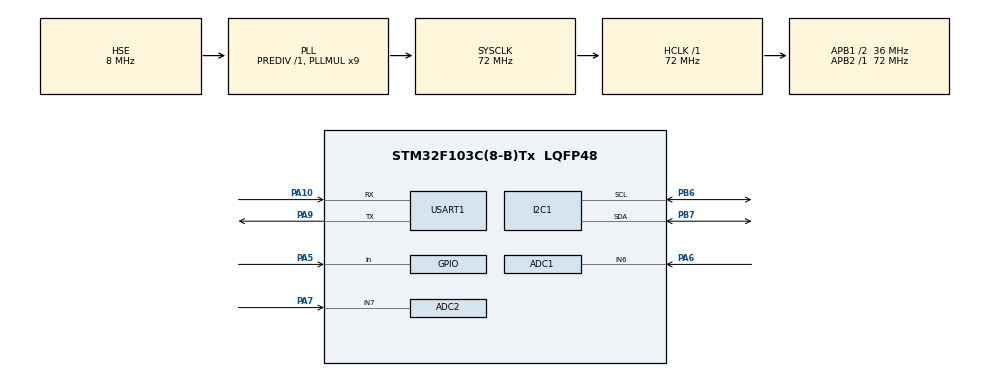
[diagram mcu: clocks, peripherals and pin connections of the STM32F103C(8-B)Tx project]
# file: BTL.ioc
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ADC1.Channel-0\#ChannelRegularConversion=ADC_CHANNEL_6
ADC1.NbrOfConversionFlag=1
ADC1.Rank-0\#ChannelRegularConversion=1
ADC1.SamplingTime-0\#ChannelRegularConversion=ADC_SAMPLETIME_1CYCLE_5
ADC1.master=1
ADC2.Channel-0\#ChannelRegularConversion=ADC_CHANNEL_7
ADC2.NbrOfConversionFlag=1
ADC2.Rank-0\#ChannelRegularConversion=1
ADC2.SamplingTime-0\#ChannelRegularConversion=ADC_SAMPLETIME_1CYCLE_5
FREERTOS.Tasks01=task_1,0,128,task_1_function,Default,NULL,Dynamic,NULL,NULL;task_2,0,128,task_2_function,Default,NULL,Dynamic,NULL,NULL;task_3,-1,128,task_3_function,Default,NULL,Dynamic,NULL,NULL
FREERTOS.configUSE_NEWLIB_REENTRANT=1
Mcu.Family=STM32F1
Mcu.Name=STM32F103C(8-B)Tx
Mcu.Package=LQFP48
NVIC.PriorityGroup=NVIC_PRIORITYGROUP_4
NVIC.TIM1_UP_IRQn=true\:15\:0\:false\:false\:true\:false\:false\:true\:true
NVIC.TimeBase=TIM1_UP_IRQn
NVIC.TimeBaseIP=TIM1
PA10.Mode=Asynchronous
PA10.Signal=USART1_RX
PA13.Mode=Serial_Wire
PA13.Signal=SYS_JTMS-SWDIO
PA14.Mode=Serial_Wire
PA14.Signal=SYS_JTCK-SWCLK
PA5.GPIO_PuPd=GPIO_PULLUP
PA5.Signal=GPIO_Input
PA6.Signal=ADCx_IN6
PA7.Signal=ADCx_IN7
PA9.Mode=Asynchronous
PA9.Signal=USART1_TX
PB6.Mode=I2C
PB6.Signal=I2C1_SCL
PB7.Mode=I2C
PB7.Signal=I2C1_SDA
PD0-OSC_IN.Mode=HSE-External-Oscillator
PD0-OSC_IN.Signal=RCC_OSC_IN
PD1-OSC_OUT.Mode=HSE-External-Oscillator
PD1-OSC_OUT.Signal=RCC_OSC_OUT
ProjectManager.HeapSize=0x200
ProjectManager.StackSize=0x400
ProjectManager.TargetToolchain=STM32CubeIDE
RCC.ADCPresc=RCC_ADCPCLK2_DIV6
RCC.AHBFreq_Value=72000000
RCC.APB1CLKDivider=RCC_HCLK_DIV2
RCC.APB1Freq_Value=36000000
RCC.APB1TimFreq_Value=72000000
RCC.APB2Freq_Value=72000000
RCC.APB2TimFreq_Value=72000000
RCC.HCLKFreq_Value=72000000
RCC.PLLMUL=RCC_PLL_MUL9
RCC.PLLSourceVirtual=RCC_PLLSOURCE_HSE
RCC.SYSCLKFreq_VALUE=72000000
RCC.SYSCLKSource=RCC_SYSCLKSOURCE_PLLCLK
RCC.USBFreq_Value=72000000
SH.ADCx_IN6.0=ADC1_IN6,IN6
SH.ADCx_IN7.0=ADC2_IN7,IN7
USART1.VirtualMode=VM_ASYNC
VP_FREERTOS_VS_CMSIS_V1.Mode=CMSIS_V1
VP_SYS_VS_tim1.Mode=TIM1
board=custom

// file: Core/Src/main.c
/* USER CODE BEGIN Header */
/**
  ******************************************************************************
  * @file           : main.c
  * @brief          : Main program body
  ******************************************************************************
  * @attention
  *
  * Copyright (c) 2024 STMicroelectronics.
  * All rights reserved.
  *
  * This software is licensed under terms that can be found in the LICENSE file
  * in the root directory of this software component.
  * If no LICENSE file comes with this software, it is provided AS-IS.
  *
  ******************************************************************************
  */
/* USER CODE END Header */
#include "main.h"
#include "cmsis_os.h"

/* USER CODE BEGIN PTD */
typedef struct
{
    int column;
    int row;
} move_typedef;

typedef enum
{
	MENU_CHOOSE_MODE,
	MENU_CHOOSE_DIFF,
	PLAYER_AI,
	PLAYER_PLAYER,
	GAME_OVER
} state_typedef;

typedef enum
{
	PLAYER_1,
	PLAYER_2
} player_turn_typedef;

typedef enum
{
	RELEASED,
	PRESSED
} button_state_typedef;

typedef enum
{
	ZERO,
	POS,
	NEG
} adc_state_typedef;

typedef enum
{
	EASY,
	HARD
} ai_mode_typedef;

typedef enum
{
	PLAYER_1_WON,
	PLAYER_2_WON,
	AI_WON,
	DRAW
} winner_typedef;

typedef enum
{
	POS_1,
	POS_2
} lcd_cursor_typedef;
/* USER CODE END PTD */

/* USER CODE BEGIN PD */
#define LCD_ADDRESS 0x27<<1
#define LCD_RS 0
#define LCD_RW 1
#define LCD_EN 2

#define cursor_symbol 'z'
#define player 'x'
#define computer 'o'
#define computer_turn 1
#define player_turn 0
/* USER CODE END PD */

ADC_HandleTypeDef hadc1;
ADC_HandleTypeDef hadc2;

I2C_HandleTypeDef hi2c1;

UART_HandleTypeDef huart1;

osThreadId task_1Handle;
osThreadId task_2Handle;
osThreadId task_3Handle;
/* USER CODE BEGIN PV */
volatile char board[3][3];

volatile move_typedef best_move = {
		.row = -1,
		.column = -1
};
volatile move_typedef cursor = {
		.row = 0,
		.column = 0
};

volatile lcd_cursor_typedef lcd_cursor = POS_1;
volatile state_typedef cur_state = MENU_CHOOSE_MODE;
volatile player_turn_typedef turn = PLAYER_1;
volatile ai_mode_typedef ai_mode = EASY;
volatile winner_typedef winner = PLAYER_1_WON;
volatile uint8_t rand = 0;
/* USER CODE END PV */

void SystemClock_Config(void);
static void MX_GPIO_Init(void);
static void MX_I2C1_Init(void);
static void MX_USART1_UART_Init(void);
static void MX_ADC1_Init(void);
static void MX_ADC2_Init(void);
void task_1_function(void const * argument);
void task_2_function(void const * argument);
void task_3_function(void const * argument);

/* USER CODE BEGIN PFP */
void lcd_command(uint8_t cmd);
void lcd_data(uint8_t data);
void lcd_init(void);
void lcd_clear(void);
void lcd_string(char str[]);

uint8_t check_moves_left(char board[][3]);
int evaluate(char board[][3]);
int minimax(char board[][3], uint8_t turn);
void find_best_move(char board[][3]);
int max(int a, int b);
int min(int a, int b);
void board_clear(char board[][3]);
void board_copy(char board[][3], char copy[]);
void board_to_pc(char board[][3], move_typedef *cursor);
void board_easy_mode(char board[][3], uint8_t rand);
/* USER CODE END PFP */

int main(void)
{

  /* MCU Configuration--------------------------------------------------------*/

  /* Reset of all peripherals, Initializes the Flash interface and the Systick. */
  HAL_Init();

  /* Configure the system clock */
  SystemClock_Config();

  /* Initialize all configured peripherals */
  MX_GPIO_Init();
  MX_I2C1_Init();
  MX_USART1_UART_Init();
  MX_ADC1_Init();
  MX_ADC2_Init();

  /* Create the thread(s) */
  /* definition and creation of task_1 */
  osThreadDef(task_1, task_1_function, osPriorityNormal, 0, 128);
  task_1Handle = osThreadCreate(osThread(task_1), NULL);

  /* definition and creation of task_2 */
  osThreadDef(task_2, task_2_function, osPriorityNormal, 0, 128);
  task_2Handle = osThreadCreate(osThread(task_2), NULL);

  /* definition and creation of task_3 */
  osThreadDef(task_3, task_3_function, osPriorityBelowNormal, 0, 128);
  task_3Handle = osThreadCreate(osThread(task_3), NULL);

  /* Start scheduler */
  osKernelStart();

  /* We should never get here as control is now taken by the scheduler */

  /* Infinite loop */
  while (1)
  {

  }
}

void SystemClock_Config(void)
{
  RCC_OscInitTypeDef RCC_OscInitStruct = {0};
  RCC_ClkInitTypeDef RCC_ClkInitStruct = {0};
  RCC_PeriphCLKInitTypeDef PeriphClkInit = {0};

  /** Initializes the RCC Oscillators according to the specified parameters
  * in the RCC_OscInitTypeDef structure.
  */
  RCC_OscInitStruct.OscillatorType = RCC_OSCILLATORTYPE_HSE;
  RCC_OscInitStruct.HSEState = RCC_HSE_ON;
  RCC_OscInitStruct.HSEPredivValue = RCC_HSE_PREDIV_DIV1;
  RCC_OscInitStruct.HSIState = RCC_HSI_ON;
  RCC_OscInitStruct.PLL.PLLState = RCC_PLL_ON;
  RCC_OscInitStruct.PLL.PLLSource = RCC_PLLSOURCE_HSE;
  RCC_OscInitStruct.PLL.PLLMUL = RCC_PLL_MUL9;
  if (HAL_RCC_OscConfig(&RCC_OscInitStruct) != HAL_OK)
  {
    Error_Handler();
  }

  /** Initializes the CPU, AHB and APB buses clocks
  */
  RCC_ClkInitStruct.ClockType = RCC_CLOCKTYPE_HCLK|RCC_CLOCKTYPE_SYSCLK
                              |RCC_CLOCKTYPE_PCLK1|RCC_CLOCKTYPE_PCLK2;
  RCC_ClkInitStruct.SYSCLKSource = RCC_SYSCLKSOURCE_PLLCLK;
  RCC_ClkInitStruct.AHBCLKDivider = RCC_SYSCLK_DIV1;
  RCC_ClkInitStruct.APB1CLKDivider = RCC_HCLK_DIV2;
  RCC_ClkInitStruct.APB2CLKDivider = RCC_HCLK_DIV1;

  if (HAL_RCC_ClockConfig(&RCC_ClkInitStruct, FLASH_LATENCY_2) != HAL_OK)
  {
    Error_Handler();
  }
  PeriphClkInit.PeriphClockSelection = RCC_PERIPHCLK_ADC;
  PeriphClkInit.AdcClockSelection = RCC_ADCPCLK2_DIV6;
  if (HAL_RCCEx_PeriphCLKConfig(&PeriphClkInit) != HAL_OK)
  {
    Error_Handler();
  }
}

static void MX_ADC1_Init(void)
{

  ADC_ChannelConfTypeDef sConfig = {0};

  /** Common config
  */
  hadc1.Instance = ADC1;
  hadc1.Init.ScanConvMode = ADC_SCAN_DISABLE;
  hadc1.Init.ContinuousConvMode = DISABLE;
  hadc1.Init.DiscontinuousConvMode = DISABLE;
  hadc1.Init.ExternalTrigConv = ADC_SOFTWARE_START;
  hadc1.Init.DataAlign = ADC_DATAALIGN_RIGHT;
  hadc1.Init.NbrOfConversion = 1;
  if (HAL_ADC_Init(&hadc1) != HAL_OK)
  {
    Error_Handler();
  }

  /** Configure Regular Channel
  */
  sConfig.Channel = ADC_CHANNEL_6;
  sConfig.Rank = ADC_REGULAR_RANK_1;
  sConfig.SamplingTime = ADC_SAMPLETIME_1CYCLE_5;
  if (HAL_ADC_ConfigChannel(&hadc1, &sConfig) != HAL_OK)
  {
    Error_Handler();
  }

}

static void MX_ADC2_Init(void)
{

  ADC_ChannelConfTypeDef sConfig = {0};

  /** Common config
  */
  hadc2.Instance = ADC2;
  hadc2.Init.ScanConvMode = ADC_SCAN_DISABLE;
  hadc2.Init.ContinuousConvMode = DISABLE;
  hadc2.Init.DiscontinuousConvMode = DISABLE;
  hadc2.Init.ExternalTrigConv = ADC_SOFTWARE_START;
  hadc2.Init.DataAlign = ADC_DATAALIGN_RIGHT;
  hadc2.Init.NbrOfConversion = 1;
  if (HAL_ADC_Init(&hadc2) != HAL_OK)
  {
    Error_Handler();
  }

  /** Configure Regular Channel
  */
  sConfig.Channel = ADC_CHANNEL_7;
  sConfig.Rank = ADC_REGULAR_RANK_1;
  sConfig.SamplingTime = ADC_SAMPLETIME_1CYCLE_5;
  if (HAL_ADC_ConfigChannel(&hadc2, &sConfig) != HAL_OK)
  {
    Error_Handler();
  }

}

static void MX_I2C1_Init(void)
{

  hi2c1.Instance = I2C1;
  hi2c1.Init.ClockSpeed = 100000;
  hi2c1.Init.DutyCycle = I2C_DUTYCYCLE_2;
  hi2c1.Init.OwnAddress1 = 0;
  hi2c1.Init.AddressingMode = I2C_ADDRESSINGMODE_7BIT;
  hi2c1.Init.DualAddressMode = I2C_DUALADDRESS_DISABLE;
  hi2c1.Init.OwnAddress2 = 0;
  hi2c1.Init.GeneralCallMode = I2C_GENERALCALL_DISABLE;
  hi2c1.Init.NoStretchMode = I2C_NOSTRETCH_DISABLE;
  if (HAL_I2C_Init(&hi2c1) != HAL_OK)
  {
    Error_Handler();
  }

}

static void MX_USART1_UART_Init(void)
{

  huart1.Instance = USART1;
  huart1.Init.BaudRate = 115200;
  huart1.Init.WordLength = UART_WORDLENGTH_8B;
  huart1.Init.StopBits = UART_STOPBITS_1;
  huart1.Init.Parity = UART_PARITY_NONE;
  huart1.Init.Mode = UART_MODE_TX_RX;
  huart1.Init.HwFlowCtl = UART_HWCONTROL_NONE;
  huart1.Init.OverSampling = UART_OVERSAMPLING_16;
  if (HAL_UART_Init(&huart1) != HAL_OK)
  {
    Error_Handler();
  }

}

static void MX_GPIO_Init(void)
{
  GPIO_InitTypeDef GPIO_InitStruct = {0};

  /* GPIO Ports Clock Enable */
  __HAL_RCC_GPIOD_CLK_ENABLE();
  __HAL_RCC_GPIOA_CLK_ENABLE();
  __HAL_RCC_GPIOB_CLK_ENABLE();

  /*Configure GPIO pin : PA5 */
  GPIO_InitStruct.Pin = GPIO_PIN_5;
  GPIO_InitStruct.Mode = GPIO_MODE_INPUT;
  GPIO_InitStruct.Pull = GPIO_PULLUP;
  HAL_GPIO_Init(GPIOA, &GPIO_InitStruct);

}

/* USER CODE BEGIN 4 */
void lcd_command(uint8_t cmd)
{
	uint8_t buff[4];
	buff[0] = (0 << LCD_RS) | (0 << LCD_RW) | (1 << LCD_EN) | (cmd & 0xF0) | 0x08;
	buff[1] = (0 << LCD_RS) | (0 << LCD_RW) | (0 << LCD_EN) | (cmd & 0xF0) | 0x08;
	buff[2] = (0 << LCD_RS) | (0 << LCD_RW) | (1 << LCD_EN) | (cmd << 4) | 0x08;
	buff[3] = (0 << LCD_RS) | (0 << LCD_RW) | (0 << LCD_EN) | (cmd << 4) | 0x08;
	HAL_I2C_Master_Transmit(&hi2c1, LCD_ADDRESS, buff, 4, 100);
	osDelay(1);
}

void lcd_data(uint8_t data)
{
	uint8_t buff[4];
	buff[0] = (1 << LCD_RS) | (0 << LCD_RW) | (1 << LCD_EN) | (data & 0xF0) | 0x08;
	buff[1] = (1 << LCD_RS) | (0 << LCD_RW) | (0 << LCD_EN) | (data & 0xF0) | 0x08;
	buff[2] = (1 << LCD_RS) | (0 << LCD_RW) | (1 << LCD_EN) | (data << 4) | 0x08;
	buff[3] = (1 << LCD_RS) | (0 << LCD_RW) | (0 << LCD_EN) | (data << 4) | 0x08;
	HAL_I2C_Master_Transmit(&hi2c1, LCD_ADDRESS, buff, 4, 100);
	osDelay(1);
}

void lcd_init(void)
{
	osDelay(50);
	lcd_command(0x30);
	osDelay(5);
	lcd_command(0x30);
	lcd_command(0x30);
	lcd_command(0x20);

	lcd_command(0x28);
	lcd_command(0x01);
	osDelay(2);
	lcd_command(0x0E);
	lcd_command(0x06);
}

void lcd_clear(void)
{
	lcd_command(0x01);
	osDelay(2);
}

void lcd_string(char str[])
{
	uint8_t i = 0;
	while (str[i] != '\0')
	{
		lcd_data(str[i]);
		i++;
	}
}

uint8_t check_moves_left(char board[][3])
{
    for (uint8_t i = 0; i < 3; i++)
    {
        for (uint8_t j = 0; j < 3; j++)
        {
            if (board[i][j] == '_')
            {
                return 1;
            }
        }
    }
    return 0;
}

int evaluate(char board[][3])
{
    // Check row
    for (uint8_t i = 0; i < 3; i++)
    {
        if ((board[i][0] == board[i][1]) && (board[i][0] == board[i][2]))
        {
            if (board[i][0] == computer)
            {
                return 10;
            }
            else if (board[i][0] == player)
            {
                return -10;
            }
        }
    }

    // Check column
    for (uint8_t i = 0; i < 3; i++)
    {
        if ((board[0][i] == board[1][i]) && (board[0][i] == board[2][i]))
        {
            if (board[0][i] == computer)
            {
                return 10;
            }
            else if (board[0][i] == player)
            {
                return -10;
            }
        }
    }

    // Check diagonal
    if ((board[0][0] == board[1][1]) && (board[0][0] == board[2][2]))
    {
        if (board[0][0] == computer)
        {
            return 10;
        }
        else if (board[0][0] == player)
        {
            return -10;
        }
    }

    if ((board[0][2] == board[1][1]) && (board[0][2] == board[2][0]))
    {
        if (board[0][2] == computer)
        {
            return 10;
        }
        else if (board[0][2] == player)
        {
            return -10;
        }
    }

    return 0;
}

int minimax(char board[][3], uint8_t turn)
{
    int score = evaluate(board);

    if ((score == 10) || (score == -10))
    {
        return score;
    }

    if (!check_moves_left(board))
    {
        return 0;
    }

    if (turn == computer_turn)
    {
        int best = -1000;
        for (uint8_t i = 0; i < 3; i++)
        {
            for (uint8_t j = 0; j < 3; j++)
            {
                if (board[i][j] == '_')
                {
                    board[i][j] = computer;
                    best = max(best, minimax(board, player_turn));
                    board[i][j] = '_';
                }
            }
        }
        return best;
    }

    if (turn == player_turn)
    {
        int best = 1000;
        for (uint8_t i = 0; i < 3; i++)
        {
            for (uint8_t j = 0; j < 3; j++)
            {
                if (board[i][j] == '_')
                {
                    board[i][j] = player;
                    best = min(best, minimax(board, computer_turn));
                    board[i][j] = '_';
                }
            }
        }
        return best;
    }

    return 0;
}

// function finds the best move
void find_best_move(char board[][3])
{
    int best = -1000;
    best_move.column = -1;
    best_move.row = -1;

    for (uint8_t i = 0; i < 3; i++)
    {
        for (uint8_t j = 0; j < 3; j++)
        {
            if (board[i][j] == '_')
            {
                board[i][j] = computer;
                int val = minimax(board, player_turn);
                board[i][j] = '_';
                if (val > best)
                {
                    best_move.row = i;
                    best_move.column = j;
                    best = val;
                }
            }
        }
    }
}

int max(int a, int b)
{
    if (a > b)
    {
        return a;
    }
    else
    {
        return b;
    }
}

int min(int a, int b)
{
    if (a < b)
    {
        return a;
    }
    else
    {
        return b;
    }
}

// function resets the board
void board_clear(char board[][3])
{
    for (uint8_t i = 0; i < 3; i++)
    {
        for (uint8_t j = 0; j < 3; j++)
        {
            board[i][j] = '_';
        }
    }
}

// function copies the board to an array
void board_copy(char board[][3], char copy[])
{
    uint8_t n = 0;
    for (uint8_t i = 0; i < 3; i++)
    {
        for (uint8_t j = 0; j < 3; j++)
        {
            copy[n] = board[i][j];
            n++;
        }
    }
}

// function sends board data to PC
void board_to_pc(char board[][3], move_typedef *cursor)
{
	char buff[11];
	buff[10] = '\n';
	board_copy(board, buff);
	buff[9] = cursor->row * 3 + cursor->column + '0';
	HAL_UART_Transmit(&huart1, buff, sizeof(buff), 100);
}

// function decides a random move
void board_easy_mode(char board[][3], uint8_t rand)
{
	if (rand % 2)
	{
		for (uint8_t i = 0; i < 3; i++)
		{
			for (uint8_t j = 0; j < 3; j++)
			{
				if (board[i][j] == '_')
				{
					board[i][j] = computer;
					return;
				}
			}
		}
	}
	else
	{
		for (uint8_t j = 0; j < 3; j++)
		{
			for (uint8_t i = 0; i < 3; i++)
			{
				if (board[i][j] == '_')
				{
					board[i][j] = computer;
					return;
				}
			}
		}
	}
}
/* USER CODE END 4 */

void task_1_function(void const * argument)
{
  /* USER CODE BEGIN 5 */
  /* Infinite loop */
  for(;;)
  {
	rand++;
	board_to_pc(board, &cursor);
    osDelay(100);
  }
  /* USER CODE END 5 */
}

void task_2_function(void const * argument)
{
  /* USER CODE BEGIN task_2_function */
  lcd_init();
  /* Infinite loop */
  for(;;)
  {
	switch(cur_state)
	{
	case MENU_CHOOSE_MODE:
		lcd_command(0x0E);
		lcd_command(0x80);
		lcd_string("Choose a mode:  ");
		lcd_command(0xC0);
		lcd_string("1:1P 2:2P       ");
		if (lcd_cursor == POS_1)
		{
			lcd_command(0xC0);
		}
		else
		{
			lcd_command(0xC5);
		}
		break;
	case MENU_CHOOSE_DIFF:
		lcd_command(0x0E);
		lcd_command(0x80);
		lcd_string("Difficulty:     ");
		lcd_command(0xC0);
		lcd_string("1:Easy 2:Hard   ");
		if (lcd_cursor == POS_1)
		{
			lcd_command(0xC0);
		}
		else
		{
			lcd_command(0xC7);
		}
		break;
	case PLAYER_AI:
		lcd_command(0x0C);
		lcd_command(0x80);
		lcd_string("     Playing    ");
		lcd_command(0xC0);
		lcd_string("  against AI... ");
		break;
	case PLAYER_PLAYER:
		lcd_command(0x0C);
		lcd_command(0x80);
		lcd_string("Waiting for     ");
		lcd_command(0xC0);
		if (turn == PLAYER_1)
		{
			lcd_string("Player 1...     ");
		}
		else
		{
			lcd_string("Player 2...     ");
		}
		break;
	case GAME_OVER:
		lcd_command(0x0C);
		lcd_command(0x80);
		if (winner == PLAYER_1_WON)
		{
			lcd_string("    Player 1    ");
		}
		else if (winner == PLAYER_2_WON)
		{
			lcd_string("    Player 2    ");
		}
		else if (winner == AI_WON)
		{
			lcd_string("       AI       ");
		}
		else
		{
			lcd_string("     No one     ");
		}
		lcd_command(0xC0);
		lcd_string("    has won     ");
		break;

	}
    osDelay(100);
  }
  /* USER CODE END task_2_function */
}

void task_3_function(void const * argument)
{
  /* USER CODE BEGIN task_3_function */
  /* Infinite loop */
  board_clear(board);
  uint8_t button, button_2, button_3;
  uint16_t adc_1_val = 0, adc_2_val = 0;
  button_state_typedef button_state = RELEASED;
//  button_state_typedef button_2_state = RELEASED;
//  button_state_typedef button_3_state = RELEASED;
  adc_state_typedef adc_1_state = ZERO;
  adc_state_typedef adc_2_state = ZERO;
  for(;;)
  {
	// GPIO5
	button = HAL_GPIO_ReadPin(GPIOA, GPIO_PIN_5);
//	button_2 = HAL_GPIO_ReadPin(GPIOA, GPIO_PIN_6);
//	button_3 = HAL_GPIO_ReadPin(GPIOA, GPIO_PIN_7);
	// ADC1
	HAL_ADC_Start(&hadc1);
	HAL_ADC_PollForConversion(&hadc1, 100);
	adc_1_val = HAL_ADC_GetValue(&hadc1);
	HAL_ADC_Stop(&hadc1);
	// ADC2
	HAL_ADC_Start(&hadc2);
	HAL_ADC_PollForConversion(&hadc2, 100);
	adc_2_val = HAL_ADC_GetValue(&hadc2);
	HAL_ADC_Stop(&hadc2);
	switch(button_state)
	{
	case RELEASED:
		if (!button)
		{
			button_state = PRESSED;
			switch (cur_state)
			{
			case MENU_CHOOSE_MODE:
				if (lcd_cursor == POS_1)
				{
					cur_state = MENU_CHOOSE_DIFF;
				}
				else
				{
					cur_state = PLAYER_PLAYER;
					lcd_cursor = POS_1;
				}
				break;
			case MENU_CHOOSE_DIFF:
			{
				cur_state = PLAYER_AI;
				if (lcd_cursor == POS_1)
				{
					ai_mode = EASY;
				}
				else
				{
					ai_mode = HARD;
					lcd_cursor = POS_1;
				}
				break;
			case PLAYER_PLAYER:
				if (turn == PLAYER_1)
				{
					board[cursor.row][cursor.column] = 'x';
					turn = PLAYER_2;
				}
				else
				{
					board[cursor.row][cursor.column] = 'o';
					turn = PLAYER_1;
				}
				if ((evaluate(board)) || (!check_moves_left(board)))
				{
					cur_state = GAME_OVER;
					if (evaluate(board) == -10)
					{
						winner = PLAYER_1_WON;
					}
					else if (evaluate(board) == 10)
					{
						winner = PLAYER_2_WON;
					}
					else
					{
						winner = DRAW;
					}
				}
				break;
			case PLAYER_AI:
				board[cursor.row][cursor.column] = player;
				if ((evaluate(board)) || (!check_moves_left(board)))
				{
					cur_state = GAME_OVER;
					if (evaluate(board) == -10)
					{
						winner = PLAYER_1_WON;
					}
					else if (evaluate(board) == 10)
					{
						winner = AI_WON;
					}
					else
					{
						winner = DRAW;
					}
				}
				else
				{
					if (ai_mode == EASY)
					{
						board_easy_mode(board, rand);
					}
					else
					{
						find_best_move(board);
						board[best_move.row][best_move.column] = computer;
					}
					if ((evaluate(board)) || (!check_moves_left(board)))
					{
						cur_state = GAME_OVER;
						if (evaluate(board) == -10)
						{
							winner = PLAYER_1_WON;
						}
						else if (evaluate(board) == 10)
						{
							winner = AI_WON;
						}
						else
						{
							winner = DRAW;
						}
					}
				}
				break;
			case GAME_OVER:
				board_clear(board);
				cursor.row = 0;
				cursor.column = 0;
				best_move.row = -1;
				best_move.column = -1;
				cur_state = MENU_CHOOSE_MODE;
				break;
			}
			}
		}
		break;
	case PRESSED:
		if (button)
		{
			button_state = RELEASED;
		}
		break;
	}
//	switch(button_2_state)
//	{
//	case RELEASED:
//		if (!button_2)
//		{
//			button_2_state = PRESSED;
//			switch (cur_state)
//			{
//			case MENU_CHOOSE_MODE:
//				if (lcd_cursor == POS_1)
//				{
//					lcd_cursor = POS_2;
//				}
//				else
//				{
//					lcd_cursor = POS_1;
//				}
//				break;
//			case MENU_CHOOSE_DIFF:
//				if (lcd_cursor == POS_1)
//				{
//					lcd_cursor = POS_2;
//				}
//				else
//				{
//					lcd_cursor = POS_1;
//				}
//				break;
//			case PLAYER_AI:
//			case PLAYER_PLAYER:
//				cursor.row++;
//				if (cursor.row > 2)
//				{
//					cursor.row = 0;
//				}
//				break;
//			}
//		}
//		break;
//	case PRESSED:
//		if (button_2)
//		{
//			button_2_state = RELEASED;
//		}
//		break;
//	}
//	switch(button_3_state)
//	{
//	case RELEASED:
//		if (!button_3)
//		{
//			button_3_state = PRESSED;
//			switch (cur_state)
//			{
//			case PLAYER_AI:
//			case PLAYER_PLAYER:
//				cursor.column++;
//				if (cursor.column > 2)
//				{
//					cursor.column = 0;
//				}
//			}
//		}
//		break;
//	case PRESSED:
//		if (button_3)
//		{
//			button_3_state = RELEASED;
//		}
//		break;
//	}
	// ADC1 handler
	switch(adc_1_state)
	{
	case ZERO:
		if (adc_1_val > 3500)
		{
			adc_1_state = POS;
			switch(cur_state)
			{
			case MENU_CHOOSE_MODE:
			case MENU_CHOOSE_DIFF:
				if (lcd_cursor == POS_1)
				{
					lcd_cursor = POS_2;
				}
				else
				{
					lcd_cursor = POS_1;
				}
				break;
			case PLAYER_AI:
			case PLAYER_PLAYER:
				cursor.row++;
				if (cursor.row > 2)
				{
					cursor.row = 0;
				}
				break;
			}
		}
		else if (adc_1_val < 500)
		{
			adc_1_state = NEG;
			switch(cur_state)
			{
			case MENU_CHOOSE_MODE:
			case MENU_CHOOSE_DIFF:
				if (lcd_cursor == POS_1)
				{
					lcd_cursor = POS_2;
				}
				else
				{
					lcd_cursor = POS_1;
				}
				break;
			case PLAYER_AI:
			case PLAYER_PLAYER:
				cursor.row--;
				if (cursor.row < 0)
				{
					cursor.row = 2;
				}
				break;
			}
		}
		break;
	case POS:
		if (adc_1_val < 3500)
		{
			adc_1_state = ZERO;
		}
		break;
	case NEG:
		if (adc_1_val > 500)
		{
			adc_1_state = ZERO;
		}
	}
	// ADC2 handler
	switch(adc_2_state)
	{
	case ZERO:
		if (adc_2_val > 3500)
		{
			adc_2_state = POS;
			switch(cur_state)
			{
			case MENU_CHOOSE_MODE:
			case MENU_CHOOSE_DIFF:
				if (lcd_cursor == POS_1)
				{
					lcd_cursor = POS_2;
				}
				else
				{
					lcd_cursor = POS_1;
				}
				break;
			case PLAYER_AI:
			case PLAYER_PLAYER:
				cursor.column--;
				if (cursor.column < 0)
				{
					cursor.column = 2;
				}
				break;
			}
		}
		else if (adc_2_val < 500)
		{
			adc_2_state = NEG;
			switch(cur_state)
			{
			case MENU_CHOOSE_MODE:
			case MENU_CHOOSE_DIFF:
				if (lcd_cursor == POS_1)
				{
					lcd_cursor = POS_2;
				}
				else
				{
					lcd_cursor = POS_1;
				}
				break;
			case PLAYER_AI:
			case PLAYER_PLAYER:
				cursor.column++;
				if (cursor.column > 2)
				{
					cursor.column = 0;
				}
				break;
			}
		}
		break;
	case POS:
		if (adc_2_val < 3500)
		{
			adc_2_state = ZERO;
		}
		break;
	case NEG:
		if (adc_2_val > 500)
		{
			adc_2_state = ZERO;
		}
	}
	osDelay(10);
  }
  /* USER CODE END task_3_function */
}

void HAL_TIM_PeriodElapsedCallback(TIM_HandleTypeDef *htim)
{
  if (htim->Instance == TIM1) {
    HAL_IncTick();
  }
}

void Error_Handler(void)
{
  __disable_irq();
  while (1)
  {
  }
}
